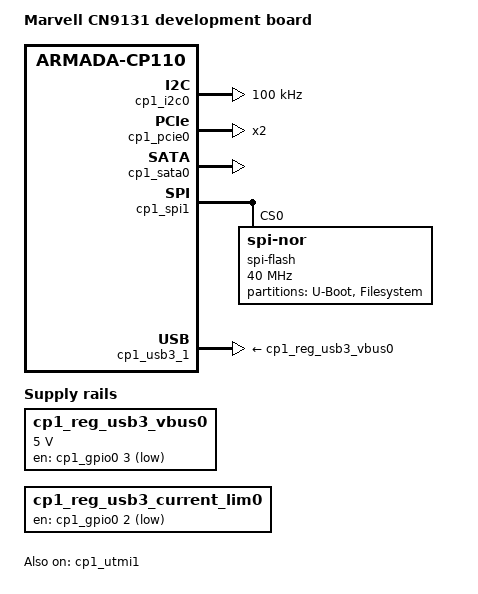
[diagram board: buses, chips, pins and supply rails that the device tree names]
// SPDX-License-Identifier: GPL-2.0+
/*
 * Copyright (C) 2018-2021 Marvell International Ltd.
 */

#undef CP110_NAME
#undef CP110_NUM
#undef CP110_PCIE_MEM_SIZE
#undef CP110_PCIEx_CPU_MEM_BASE
#undef CP110_PCIEx_BUS_MEM_BASE

/* CP110-1 Settings */
#define CP110_NAME			cp1
#define CP110_NUM			1
#define CP110_PCIE_MEM_SIZE(iface)	(0xf00000)
#define CP110_PCIEx_CPU_MEM_BASE(iface)	(0xe2000000 + (iface) * 0x1000000)
#define CP110_PCIEx_BUS_MEM_BASE(iface)	(CP110_PCIEx_CPU_MEM_BASE(iface))

#include "armada-cp110.dtsi"

/ {
	model = "Marvell CN9131 development board";
	compatible = "marvell,cn9131-db";

	aliases {
		gpio3 = &cp1_gpio0;
		gpio4 = &cp1_gpio1;
	};

	cp1 {
		config-space {
			cp1_reg_usb3_vbus0: cp1_usb3_vbus@0 {
				compatible = "regulator-fixed";
				pinctrl-names = "default";
				pinctrl-0 = <&cp1_xhci0_vbus_pins>;
				regulator-name = "cp1-xhci0-vbus";
				regulator-min-microvolt = <5000000>;
				regulator-max-microvolt = <5000000>;
				startup-delay-us = <100000>;
				regulator-force-boot-off;
				gpio = <&cp1_gpio0 3 GPIO_ACTIVE_HIGH>;
			};
			cp1_reg_usb3_current_lim0: cp1_usb3_current_limiter@0 {
				compatible = "regulator-fixed";
				regulator-min-microamp = <900000>;
				regulator-max-microamp = <900000>;
				regulator-force-boot-off;
				gpio = <&cp1_gpio0 2 GPIO_ACTIVE_HIGH>;
			};
			cp1_pcie_reset_pins: cp1-pcie-reset-pins {
				marvell,pins = <0>;
				marvell,function = <0>;
			};
		};
	};
};

&cp1_i2c0 {
	pinctrl-names = "default";
	pinctrl-0 = <&cp1_i2c0_pins>;
	status = "okay";
	clock-frequency = <100000>;
};

/* CON40 */
&cp1_pcie0 {
	pinctrl-names = "default";
	pinctrl-0 = <&cp1_pcie_reset_pins>;
	marvell,reset-gpio = <&cp1_gpio0 0 GPIO_ACTIVE_LOW>;
	status = "okay";
	num-lanes = <2>;
		/* non-prefetchable memory */
	ranges = <0x82000000 0 0xe2000000 0 0xe2000000 0 0xf00000>;
};

&cp1_pinctl {
	compatible = "marvell,mvebu-pinctrl",
		     "marvell,cp115-standalone-pinctrl";
	bank-name ="cp1-110";

	/* MPP Bus:
	 *	[0-12]	GPIO
	 *	[13-16]	SPI1
	 *	[17-27]	GPIO (Default)
	 *	[28]	SATA1_PRESENT_ACTIVEn
	 *	[29-34]	GPIO (Default)
	 *	[35-36]	xSMI
	 *	[37-38] I2C0
	 *	[39-62]	GPIO
	 */
		/*   0    1    2    3    4    5    6    7    8    9 */
	pin-func = < 0x0  0x0  0x0  0x0  0x0  0x0  0x0  0x0  0x0  0x0
		     0x0  0x0  0x0  0x3  0x3  0x3  0x3  0x0  0x0  0x0
		     0x0  0x0  0x0  0x0  0x0  0x0  0x0  0x0  0x9  0x0
		     0x0  0x0  0x0  0x0  0x0  0x7  0x7  0x2  0x2  0x0
		     0x0  0x0  0x0  0x0  0x0  0x0  0x0  0x0  0x0  0x0
		     0x0  0x0  0x0  0x0  0x0  0x0  0x0  0x0  0x0  0x0
		     0x0  0x0  0x0 >;

	cp1_i2c0_pins: cp1-i2c-pins-0 {
		marvell,pins = < 37 38 >;
		marvell,function = <2>;
	};
	cp1_spi0_pins: cp1-spi-pins-0 {
		marvell,pins = < 13 14 15 16 >;
		marvell,function = <3>;
	};
	cp1_xhci0_vbus_pins: cp1-xhci0-vbus-pins {
		marvell,pins = <3>;
		marvell,function = <0>;
	};
};

/* CON32 */
&cp1_sata0 {
	status = "okay";
};

/* U24 */
&cp1_spi1 {
	pinctrl-names = "default";
	pinctrl-0 = <&cp1_spi0_pins>;
	reg = <0x700680 0x50>,		/* control */
	      <0x2000000 0x1000000>,	/* CS0 */
	      <0 0xffffffff>,		/* CS1 */
	      <0 0xffffffff>,		/* CS2 */
	      <0 0xffffffff>;		/* CS3 */
	status = "okay";

	spi-flash@0 {
		#address-cells = <0x1>;
		#size-cells = <0x1>;
		compatible = "jedec,spi-nor", "spi-flash";
		reg = <0x0>;
		/* On-board MUX does not allow higher frequencies */
		spi-max-frequency = <40000000>;

		partitions {
			compatible = "fixed-partitions";
			#address-cells = <1>;
			#size-cells = <1>;

			partition@0 {
				label = "U-Boot";
				reg = <0x0 0x200000>;
			};

			partition@400000 {
				label = "Filesystem";
				reg = <0x200000 0xe00000>;
			};
		};
	};
};

/* CON58 */
&cp1_usb3_1 {
	vbus-supply = <&cp1_reg_usb3_vbus0>;
	current-limiter = <&cp1_reg_usb3_current_lim0>;
	vbus-disable-delay = <500>;
	status = "okay";
};

&cp1_utmi1 {
	status = "okay";
};
